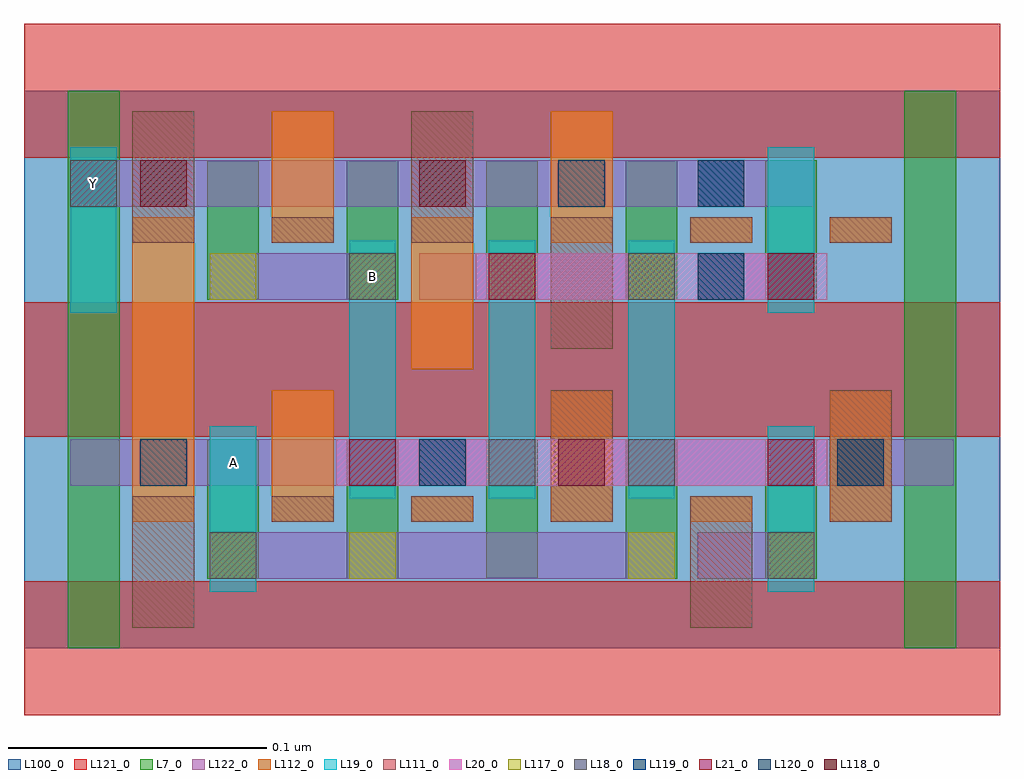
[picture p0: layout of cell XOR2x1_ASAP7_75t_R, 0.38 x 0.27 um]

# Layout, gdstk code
import gdstk
lib = gdstk.Library(unit=1e-6, precision=2.5e-10)
def R(c, l, rs):  # rectangles x0, y0, x1, y1
    for r in rs: c.add(gdstk.rectangle(r[:2], r[2:], *l))
def A(c, l, x, y, w, h, nx, ny, dx, dy):  # array of equal rectangles
    R(c, l, [(x+i*dx, y+j*dy, x+i*dx+w, y+j*dy+h) for i in range(nx) for j in range(ny)])
L7_0 = (7, 0)
L18_0 = (18, 0)
L19_0 = (19, 0)
L20_0 = (20, 0)
L21_0 = (21, 0)
L100_0 = (100, 0)
L111_0 = (111, 0)
L112_0 = (112, 0)
L117_0 = (117, 0)
L118_0 = (118, 0)
L119_0 = (119, 0)
L120_0 = (120, 0)
L121_0 = (121, 0)
L122_0 = (122, 0)

xor2x1_asap7_75t_r = lib.new_cell('XOR2x1_ASAP7_75t_R')
A(xor2x1_asap7_75t_r, L7_0, 0.071, 0.027, 0.02, 0.054, 5, 2, 0.054, 0.108)
R(xor2x1_asap7_75t_r, L7_0, [(0.017,0,0.037,0.108), (0.341,0,0.361,0.108), (0.017,0.108,0.037,0.216), (0.341,0.108,0.361,0.216)])
R(xor2x1_asap7_75t_r, L18_0, [(0.072,0.027,0.09,0.045), (0.288,0.027,0.306,0.045), (0.18,0.063,0.198,0.081), (0.234,0.063,0.252,0.081), (0.126,0.135,0.144,0.153), (0.234,0.135,0.252,0.153), (0.288,0.135,0.306,0.153), (0.018,0.171,0.036,0.189)])
A(xor2x1_asap7_75t_r, L19_0, 0.126, 0.058, 0.018, 0.1, 3, 1, 0.054, 0)
R(xor2x1_asap7_75t_r, L19_0, [(0.072,0.022,0.09,0.086), (0.288,0.022,0.306,0.086), (0.018,0.13,0.036,0.194), (0.288,0.13,0.306,0.194)])
R(xor2x1_asap7_75t_r, L20_0, [(0.121,0.063,0.311,0.081), (0.175,0.135,0.311,0.153)])
R(xor2x1_asap7_75t_r, L21_0, [(0.126,0.063,0.144,0.081), (0.288,0.063,0.306,0.081), (0.18,0.135,0.198,0.153), (0.288,0.135,0.306,0.153)])
R(xor2x1_asap7_75t_r, L100_0, [(0,0,0.378,0.216)])
R(xor2x1_asap7_75t_r, L111_0, [(0.042,0.008,0.066,0.059), (0.258,0.008,0.282,0.059), (0.096,0.049,0.12,0.059), (0.15,0.049,0.174,0.059), (0.204,0.049,0.228,0.1), (0.312,0.049,0.336,0.1), (0.204,0.116,0.228,0.167), (0.042,0.157,0.066,0.208), (0.096,0.157,0.12,0.167), (0.15,0.157,0.174,0.208), (0.258,0.157,0.282,0.167), (0.312,0.157,0.336,0.167)])
A(xor2x1_asap7_75t_r, L112_0, 0.096, 0.049, 0.024, 0.051, 3, 1, 0.108, 0)
R(xor2x1_asap7_75t_r, L112_0, [(0.042,0.049,0.066,0.108), (0.15,0.049,0.174,0.059), (0.258,0.049,0.282,0.059), (0.042,0.108,0.066,0.167), (0.15,0.108,0.174,0.167), (0.096,0.157,0.12,0.208), (0.204,0.157,0.228,0.208), (0.258,0.157,0.282,0.167), (0.312,0.157,0.336,0.167)])
A(xor2x1_asap7_75t_r, L117_0, 0.072, 0.135, 0.018, 0.018, 4, 1, 0.054, 0)
R(xor2x1_asap7_75t_r, L117_0, [(0.072,0.027,0.09,0.045), (0.126,0.027,0.144,0.045), (0.234,0.027,0.252,0.045), (0.288,0.027,0.306,0.045)])
R(xor2x1_asap7_75t_r, L118_0, [(0.207,0.063,0.225,0.081), (0.045,0.171,0.063,0.189), (0.153,0.171,0.171,0.189)])
R(xor2x1_asap7_75t_r, L119_0, [(0.045,0.063,0.063,0.081), (0.153,0.063,0.171,0.081), (0.315,0.063,0.333,0.081), (0.261,0.135,0.279,0.153), (0.207,0.171,0.225,0.189), (0.261,0.171,0.279,0.189)])
R(xor2x1_asap7_75t_r, L120_0, [(0.153,0.063,0.171,0.081), (0.315,0.063,0.333,0.081), (0.261,0.135,0.279,0.153), (0.261,0.171,0.279,0.189)])
A(xor2x1_asap7_75t_r, L121_0, 0, -0.026, 0.378, 0.052, 1, 3, 0, 0.108)
R(xor2x1_asap7_75t_r, L122_0, [(0.072,0.027,0.252,0.045), (0.261,0.027,0.306,0.045), (0.018,0.063,0.198,0.081), (0.207,0.063,0.36,0.081), (0.072,0.135,0.144,0.153), (0.153,0.135,0.252,0.153), (0.261,0.135,0.306,0.153), (0.018,0.171,0.306,0.189)])
xor2x1_asap7_75t_r.add(gdstk.Label('Y', (0.027,0.18), layer=19, texttype=251))
xor2x1_asap7_75t_r.add(gdstk.Label('B', (0.135,0.144), layer=19, texttype=251))
xor2x1_asap7_75t_r.add(gdstk.Label('A', (0.081,0.072), layer=19, texttype=251))

lib.write_gds('XOR2x1_ASAP7_75t_R.gds')
